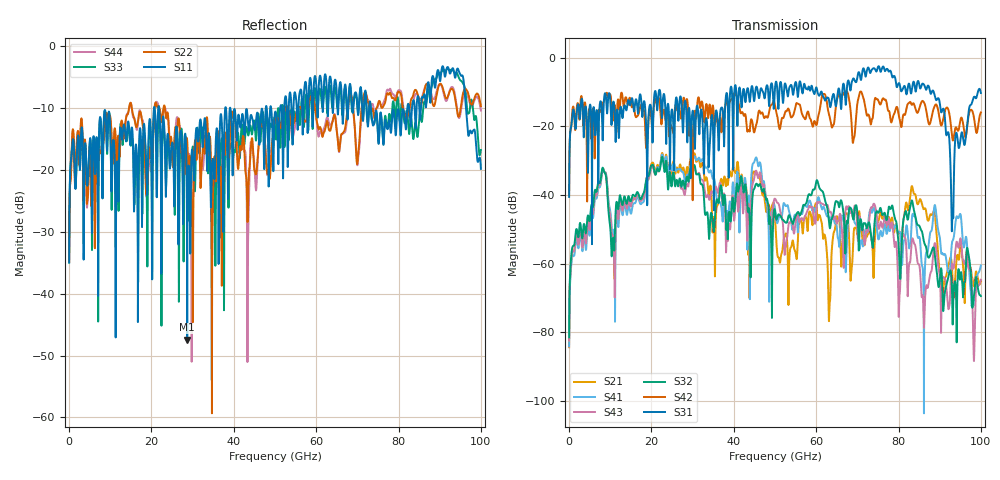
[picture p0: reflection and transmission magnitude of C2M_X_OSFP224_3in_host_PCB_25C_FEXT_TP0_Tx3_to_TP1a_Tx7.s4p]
# GHz S RI R 45
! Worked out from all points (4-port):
!   4000 points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, 25 MHz to 100 GHz, reference 45 ohm
!   strongest paths, dB at 25 MHz, 25.02 GHz, 50.02 GHz, 75.03 GHz, 100 GHz:
!     S31: -40.6, -15.1, -8.7, -2.7, -10.3
!     S42: -40.1, -20.6, -13.9, -12.3, -15.9
!     S32: -81.5, -36.3, -44.8, -45.2, -69.5
!     S43: -82.5, -35.8, -41.1, -49.0, -64.7
!     S41: -84.2, -32.8, -44.2, -52.6, -60.6
!     S21: -84.4, -33.2, -46.3, -47.9, -65.2
!   lowest |S11| = -47.4 dB at 28.7 GHz (marker M1), VSWR 1.01, Z = 45 - j0.382 ohm
!   |S11| at or under -10 dB: start of sweep to 20.63 GHz; 21.87 GHz to 37.94 GHz (16.07 GHz wide, 53.7 % of centre); 73.29 GHz to 82.15 GHz (8.862 GHz wide, 11.4 % of centre) (the widest 3 of 30)
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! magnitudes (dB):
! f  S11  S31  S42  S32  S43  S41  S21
! 25 MHz  -34.9  -40.6  -40.1  -81.5  -82.5  -84.2  -84.4
! 8.35 GHz  -14.0  -15.8  -12.9  -32.6  -32.5  -32.7  -32.6
! 28.7 GHz  -47.4  -24.7  -12.3  -34.7  -36.9  -34.1  -31.8
! 63.2 GHz  -5.5  -13.0  -16.9  -48.6  -45.0  -46.8  -74.1
! 76.58 GHz  -13.3  -3.5  -12.2  -45.2  -46.5  -48.7  -46.2
! 93.05 GHz  -3.6  -45.8  -23.4  -71.7  -60.2  -53.6  -62.6
! 100 GHz  -19.8  -10.3  -15.9  -69.5  -64.7  -60.6  -65.2
